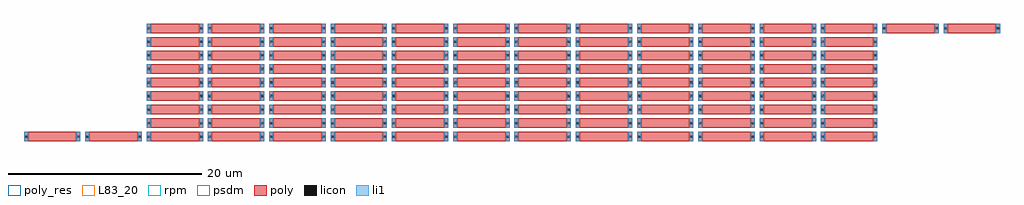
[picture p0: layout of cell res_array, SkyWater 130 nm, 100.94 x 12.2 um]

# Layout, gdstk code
import gdstk
lib = gdstk.Library(unit=1e-6, precision=1e-09)
def R(c, l, rs):  # rectangles x0, y0, x1, y1
    for r in rs: c.add(gdstk.rectangle(r[:2], r[2:], *l))
def A(c, l, x, y, w, h, nx, ny, dx, dy):  # array of equal rectangles
    R(c, l, [(x+i*dx, y+j*dy, x+i*dx+w, y+j*dy+h) for i in range(nx) for j in range(ny)])
poly_res = (66, 13)
poly = (66, 20)
licon = (66, 44)
li1 = (67, 20)
L83_20 = (83, 20)
rpm = (86, 20)
psdm = (94, 20)

res_array = lib.new_cell('res_array')
A(res_array, poly_res, -12.26, 0, 5, 1, 14, 1, 6.34, 0)
A(res_array, poly_res, 0.42, 1.4, 5, 1, 12, 7, 6.34, 1.4)
A(res_array, poly_res, 0.42, 11.2, 5, 1, 14, 1, 6.34, 0)
A(res_array, poly, -12.68, 0, 5.84, 1, 14, 1, 6.34, 0)
A(res_array, poly, 0, 1.4, 5.84, 1, 12, 7, 6.34, 1.4)
A(res_array, poly, 0, 11.2, 5.84, 1, 14, 1, 6.34, 0)
A(res_array, licon, 0.1, 0.39, 0.22, 0.22, 1, 9, 0, 1.4)
A(res_array, licon, 5.52, 0.39, 0.22, 0.22, 1, 9, 0, 1.4)
A(res_array, licon, 6.44, 0.39, 0.22, 0.22, 1, 9, 0, 1.4)
A(res_array, licon, 11.86, 0.39, 0.22, 0.22, 1, 9, 0, 1.4)
A(res_array, licon, 12.78, 0.39, 0.22, 0.22, 1, 9, 0, 1.4)
A(res_array, licon, 18.2, 0.39, 0.22, 0.22, 1, 9, 0, 1.4)
A(res_array, licon, 19.12, 0.39, 0.22, 0.22, 1, 9, 0, 1.4)
A(res_array, licon, 24.54, 0.39, 0.22, 0.22, 1, 9, 0, 1.4)
A(res_array, licon, 25.46, 0.39, 0.22, 0.22, 1, 9, 0, 1.4)
A(res_array, licon, 30.88, 0.39, 0.22, 0.22, 1, 9, 0, 1.4)
A(res_array, licon, 31.8, 0.39, 0.22, 0.22, 1, 9, 0, 1.4)
A(res_array, licon, 37.22, 0.39, 0.22, 0.22, 1, 9, 0, 1.4)
A(res_array, licon, 38.14, 0.39, 0.22, 0.22, 1, 9, 0, 1.4)
A(res_array, licon, 43.56, 0.39, 0.22, 0.22, 1, 9, 0, 1.4)
A(res_array, licon, 44.48, 0.39, 0.22, 0.22, 1, 9, 0, 1.4)
A(res_array, licon, 49.9, 0.39, 0.22, 0.22, 1, 9, 0, 1.4)
A(res_array, licon, 50.82, 0.39, 0.22, 0.22, 1, 9, 0, 1.4)
A(res_array, licon, 56.24, 0.39, 0.22, 0.22, 1, 9, 0, 1.4)
A(res_array, licon, 57.16, 0.39, 0.22, 0.22, 1, 9, 0, 1.4)
A(res_array, licon, 62.58, 0.39, 0.22, 0.22, 1, 9, 0, 1.4)
A(res_array, licon, 63.5, 0.39, 0.22, 0.22, 1, 9, 0, 1.4)
A(res_array, licon, 68.92, 0.39, 0.22, 0.22, 1, 9, 0, 1.4)
A(res_array, licon, 69.84, 0.39, 0.22, 0.22, 1, 9, 0, 1.4)
A(res_array, licon, 75.26, 0.39, 0.22, 0.22, 1, 9, 0, 1.4)
R(res_array, licon, [(-12.58,0.39,-12.36,0.61), (-7.16,0.39,-6.94,0.61), (-6.24,0.39,-6.02,0.61), (-0.82,0.39,-0.6,0.61), (76.18,11.59,76.4,11.81), (81.6,11.59,81.82,11.81), (82.52,11.59,82.74,11.81), (87.94,11.59,88.16,11.81)])
A(res_array, li1, 0, 0, 0.42, 1, 1, 9, 0, 1.4)
A(res_array, li1, 5.42, 0, 0.42, 1, 1, 9, 0, 1.4)
A(res_array, li1, 6.34, 0, 0.42, 1, 1, 9, 0, 1.4)
A(res_array, li1, 11.76, 0, 0.42, 1, 1, 9, 0, 1.4)
A(res_array, li1, 12.68, 0, 0.42, 1, 1, 9, 0, 1.4)
A(res_array, li1, 18.1, 0, 0.42, 1, 1, 9, 0, 1.4)
A(res_array, li1, 19.02, 0, 0.42, 1, 1, 9, 0, 1.4)
A(res_array, li1, 24.44, 0, 0.42, 1, 1, 9, 0, 1.4)
A(res_array, li1, 25.36, 0, 0.42, 1, 1, 9, 0, 1.4)
A(res_array, li1, 30.78, 0, 0.42, 1, 1, 9, 0, 1.4)
A(res_array, li1, 31.7, 0, 0.42, 1, 1, 9, 0, 1.4)
A(res_array, li1, 37.12, 0, 0.42, 1, 1, 9, 0, 1.4)
A(res_array, li1, 38.04, 0, 0.42, 1, 1, 9, 0, 1.4)
A(res_array, li1, 43.46, 0, 0.42, 1, 1, 9, 0, 1.4)
A(res_array, li1, 44.38, 0, 0.42, 1, 1, 9, 0, 1.4)
A(res_array, li1, 49.8, 0, 0.42, 1, 1, 9, 0, 1.4)
A(res_array, li1, 50.72, 0, 0.42, 1, 1, 9, 0, 1.4)
A(res_array, li1, 56.14, 0, 0.42, 1, 1, 9, 0, 1.4)
A(res_array, li1, 57.06, 0, 0.42, 1, 1, 9, 0, 1.4)
A(res_array, li1, 62.48, 0, 0.42, 1, 1, 9, 0, 1.4)
A(res_array, li1, 63.4, 0, 0.42, 1, 1, 9, 0, 1.4)
A(res_array, li1, 68.82, 0, 0.42, 1, 1, 9, 0, 1.4)
A(res_array, li1, 69.74, 0, 0.42, 1, 1, 9, 0, 1.4)
A(res_array, li1, 75.16, 0, 0.42, 1, 1, 9, 0, 1.4)
R(res_array, li1, [(-12.68,0,-12.26,1), (-7.26,0,-6.84,1), (-6.34,0,-5.92,1), (-0.92,0,-0.5,1), (76.08,11.2,76.5,12.2), (81.5,11.2,81.92,12.2), (82.42,11.2,82.84,12.2), (87.84,11.2,88.26,12.2)])
R(res_array, L83_20, [(-12.26,0,-7.26,1), (-5.92,0,-0.92,1), (76.5,11.2,81.5,12.2), (82.84,11.2,87.84,12.2)])
A(res_array, rpm, -12.26, 0, 5, 1, 14, 1, 6.34, 0)
A(res_array, rpm, 0.42, 1.4, 5, 1, 12, 7, 6.34, 1.4)
A(res_array, rpm, 0.42, 11.2, 5, 1, 14, 1, 6.34, 0)
A(res_array, psdm, -12.26, 0, 5, 1, 14, 1, 6.34, 0)
A(res_array, psdm, 0.42, 1.4, 5, 1, 12, 7, 6.34, 1.4)
A(res_array, psdm, 0.42, 11.2, 5, 1, 14, 1, 6.34, 0)

lib.write_gds('res_array.gds')
